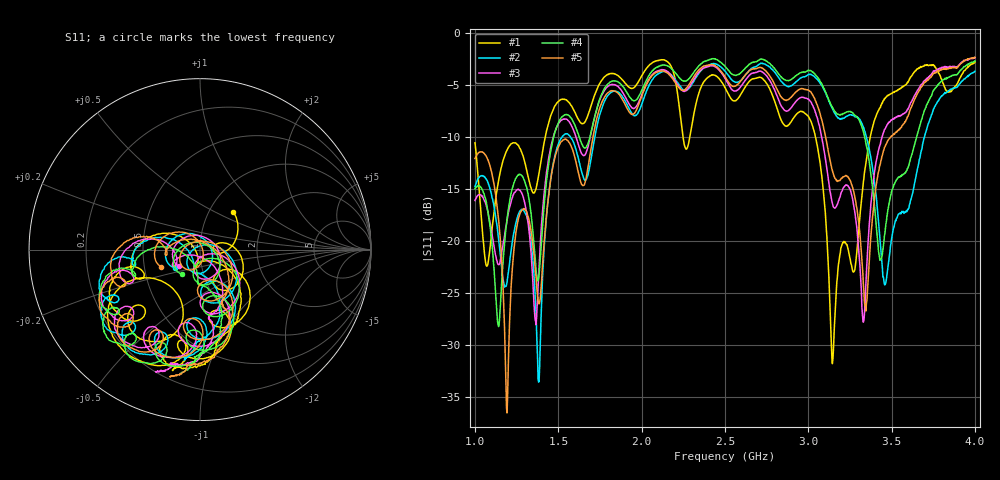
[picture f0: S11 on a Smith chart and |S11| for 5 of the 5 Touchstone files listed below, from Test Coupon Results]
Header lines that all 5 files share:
# MHz S MA R 50
!  freq  S11
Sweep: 1 GHz to 4 GHz
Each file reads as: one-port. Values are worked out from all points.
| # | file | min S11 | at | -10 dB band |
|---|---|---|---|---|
| 1 | JLCM.s1p | -31.8 dB | 3.144 GHz | over 421.2 MHz wide |
| 2 | SATCPWG.s1p | -33.6 dB | 1.381 GHz | over 522.7 MHz wide |
| 3 | SATM.s1p | -28.1 dB | 1.366 GHz | over 469.4 MHz wide |
| 4 | SONCPWG.s1p | -28.3 dB | 1.141 GHz | over 471.7 MHz wide |
| 5 | SONM.s1p | -36.6 dB | 1.192 GHz | over 707.7 MHz wide |
